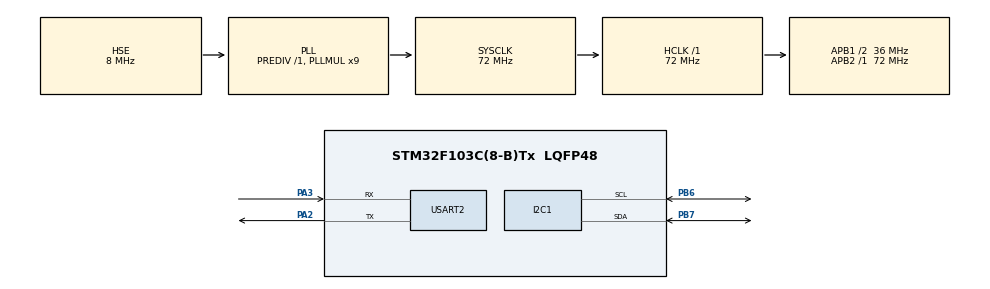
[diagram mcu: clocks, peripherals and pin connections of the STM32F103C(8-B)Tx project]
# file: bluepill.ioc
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Mcu.Family=STM32F1
Mcu.Name=STM32F103C(8-B)Tx
Mcu.Package=LQFP48
NVIC.PriorityGroup=NVIC_PRIORITYGROUP_4
PA13.Mode=Serial_Wire
PA13.Signal=SYS_JTMS-SWDIO
PA14.Mode=Serial_Wire
PA14.Signal=SYS_JTCK-SWCLK
PA2.Mode=Asynchronous
PA2.Signal=USART2_TX
PA3.Mode=Asynchronous
PA3.Signal=USART2_RX
PB6.Mode=I2C
PB6.Signal=I2C1_SCL
PB7.Mode=I2C
PB7.Signal=I2C1_SDA
PD0-OSC_IN.Mode=HSE-External-Oscillator
PD0-OSC_IN.Signal=RCC_OSC_IN
PD1-OSC_OUT.Mode=HSE-External-Oscillator
PD1-OSC_OUT.Signal=RCC_OSC_OUT
ProjectManager.HeapSize=0x200
ProjectManager.StackSize=0x400
ProjectManager.TargetToolchain=STM32CubeIDE
RCC.AHBFreq_Value=72000000
RCC.APB1CLKDivider=RCC_HCLK_DIV2
RCC.APB1Freq_Value=36000000
RCC.APB1TimFreq_Value=72000000
RCC.APB2Freq_Value=72000000
RCC.APB2TimFreq_Value=72000000
RCC.HCLKFreq_Value=72000000
RCC.PLLMUL=RCC_PLL_MUL9
RCC.PLLSourceVirtual=RCC_PLLSOURCE_HSE
RCC.SYSCLKFreq_VALUE=72000000
RCC.SYSCLKSource=RCC_SYSCLKSOURCE_PLLCLK
RCC.USBFreq_Value=72000000
USART2.VirtualMode=VM_ASYNC
board=custom

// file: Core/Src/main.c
/* USER CODE BEGIN Header */
/**
  ******************************************************************************
  * @file           : main.c
  * @brief          : Main program body
  ******************************************************************************
  * @attention
  *
  * Copyright (c) 2024 STMicroelectronics.
  * All rights reserved.
  *
  * This software is licensed under terms that can be found in the LICENSE file
  * in the root directory of this software component.
  * If no LICENSE file comes with this software, it is provided AS-IS.
  *
  ******************************************************************************
  */
/* USER CODE END Header */
#include "main.h"

/* USER CODE BEGIN Includes */

#include "stm32f1xx_hal.h"
#include "stm32f1xx_hal_gpio.h"
#include "stm32f1xx_hal_rcc.h"

/* USER CODE END Includes */

/* USER CODE BEGIN PD */

// Define L9916 I2C address and OTP register addresses
#define L9916_I2C_ADDRESS_WRITE 	0xD8
#define L9916_I2C_ADDRESS_READ  	0xD9
#define OTP_WRITE_VALUE_REGISTER    0x09
#define OTP_WRITE_COMMAND_REGISTER 	0x0A
#define OTP_STATUS_REGISTER     	0x0B
#define OTP_READ_REGISTER       	0x0C
#define REGISTER_1					0x01

/* USER CODE END PD */

I2C_HandleTypeDef hi2c1;

UART_HandleTypeDef huart2;

void SystemClock_Config(void);
static void MX_GPIO_Init(void);
static void MX_USART2_UART_Init(void);
static void MX_I2C1_Init(void);
/* USER CODE BEGIN PFP */

HAL_StatusTypeDef L9916_Write_OTP(uint8_t row, uint8_t column, uint8_t data);
HAL_StatusTypeDef L9916_Read_OTP(uint8_t *data);
void Entering_program_mode(void);
void OTP_programming(void);

/* USER CODE END PFP */

int main(void)
{

  /* MCU Configuration--------------------------------------------------------*/

  /* Reset of all peripherals, Initializes the Flash interface and the Systick. */
  HAL_Init();

  /* Configure the system clock */
  SystemClock_Config();

  /* Initialize all configured peripherals */
  MX_USART2_UART_Init();
  MX_GPIO_Init();
  Entering_program_mode();
  __asm__("BKPT");

  /* Infinite loop */
  while (1)
  {

  }
}

void SystemClock_Config(void)
{
  RCC_OscInitTypeDef RCC_OscInitStruct = {0};
  RCC_ClkInitTypeDef RCC_ClkInitStruct = {0};

  /** Initializes the RCC Oscillators according to the specified parameters
  * in the RCC_OscInitTypeDef structure.
  */
  RCC_OscInitStruct.OscillatorType = RCC_OSCILLATORTYPE_HSE;
  RCC_OscInitStruct.HSEState = RCC_HSE_ON;
  RCC_OscInitStruct.HSEPredivValue = RCC_HSE_PREDIV_DIV1;
  RCC_OscInitStruct.HSIState = RCC_HSI_ON;
  RCC_OscInitStruct.PLL.PLLState = RCC_PLL_ON;
  RCC_OscInitStruct.PLL.PLLSource = RCC_PLLSOURCE_HSE;
  RCC_OscInitStruct.PLL.PLLMUL = RCC_PLL_MUL9;
  if (HAL_RCC_OscConfig(&RCC_OscInitStruct) != HAL_OK)
  {
    Error_Handler();
  }

  /** Initializes the CPU, AHB and APB buses clocks
  */
  RCC_ClkInitStruct.ClockType = RCC_CLOCKTYPE_HCLK|RCC_CLOCKTYPE_SYSCLK
                              |RCC_CLOCKTYPE_PCLK1|RCC_CLOCKTYPE_PCLK2;
  RCC_ClkInitStruct.SYSCLKSource = RCC_SYSCLKSOURCE_PLLCLK;
  RCC_ClkInitStruct.AHBCLKDivider = RCC_SYSCLK_DIV1;
  RCC_ClkInitStruct.APB1CLKDivider = RCC_HCLK_DIV2;
  RCC_ClkInitStruct.APB2CLKDivider = RCC_HCLK_DIV1;

  if (HAL_RCC_ClockConfig(&RCC_ClkInitStruct, FLASH_LATENCY_2) != HAL_OK)
  {
    Error_Handler();
  }
}

static void MX_I2C1_Init(void)
{

  hi2c1.Instance = I2C1;
  hi2c1.Init.ClockSpeed = 100000;
  hi2c1.Init.DutyCycle = I2C_DUTYCYCLE_2;
  hi2c1.Init.OwnAddress1 = 0;
  hi2c1.Init.AddressingMode = I2C_ADDRESSINGMODE_7BIT;
  hi2c1.Init.DualAddressMode = I2C_DUALADDRESS_DISABLE;
  hi2c1.Init.OwnAddress2 = 0;
  hi2c1.Init.GeneralCallMode = I2C_GENERALCALL_DISABLE;
  hi2c1.Init.NoStretchMode = I2C_NOSTRETCH_DISABLE;
  if (HAL_I2C_Init(&hi2c1) != HAL_OK)
  {
    Error_Handler();
  }

}

static void MX_USART2_UART_Init(void)
{

  huart2.Instance = USART2;
  huart2.Init.BaudRate = 115200;
  huart2.Init.WordLength = UART_WORDLENGTH_8B;
  huart2.Init.StopBits = UART_STOPBITS_1;
  huart2.Init.Parity = UART_PARITY_NONE;
  huart2.Init.Mode = UART_MODE_TX_RX;
  huart2.Init.HwFlowCtl = UART_HWCONTROL_NONE;
  huart2.Init.OverSampling = UART_OVERSAMPLING_16;
  if (HAL_UART_Init(&huart2) != HAL_OK)
  {
    Error_Handler();
  }

}

static void MX_GPIO_Init(void)
{
/* USER CODE BEGIN MX_GPIO_Init_1 */
	GPIO_InitTypeDef GPIO_InitStruct = {0};

	/* GPIO Ports Clock Enable */
	__HAL_RCC_GPIOB_CLK_ENABLE();

	/* I2C1 GPIO Configuration
	 PB6  ------> I2C1_SCL
	 PB7  ------> I2C1_SDA
	*/

	/* Configure GPIO pins for PH and IGN */
	GPIO_InitStruct.Pin = GPIO_PIN_6; // PH pin (clock signal)
	GPIO_InitStruct.Mode = GPIO_MODE_OUTPUT_PP;
	GPIO_InitStruct.Pull = GPIO_PULLUP;
	GPIO_InitStruct.Speed = GPIO_SPEED_FREQ_HIGH;
	HAL_GPIO_Init(GPIOB, &GPIO_InitStruct);

	GPIO_InitStruct.Pin = GPIO_PIN_7; // IGN pin (data sequence)
	GPIO_InitStruct.Mode = GPIO_MODE_INPUT;
	GPIO_InitStruct.Pull = GPIO_PULLUP;
	HAL_GPIO_Init(GPIOB, &GPIO_InitStruct);
/* USER CODE END MX_GPIO_Init_1 */

  /* GPIO Ports Clock Enable */
  __HAL_RCC_GPIOD_CLK_ENABLE();
  __HAL_RCC_GPIOA_CLK_ENABLE();
  __HAL_RCC_GPIOB_CLK_ENABLE();

/* USER CODE BEGIN MX_GPIO_Init_2 */
  GPIO_InitStruct.Pin = GPIO_PIN_0;
  GPIO_InitStruct.Mode = GPIO_MODE_OUTPUT_PP;
  GPIO_InitStruct.Pull = GPIO_NOPULL;
  GPIO_InitStruct.Speed = GPIO_SPEED_FREQ_HIGH;
  HAL_GPIO_Init(GPIOA, &GPIO_InitStruct);

/* USER CODE END MX_GPIO_Init_2 */
}

/* USER CODE BEGIN 4 */

HAL_StatusTypeDef L9916_Write_OTP(uint8_t row, uint8_t column, uint8_t data)
{
    uint8_t write_command[2];
    uint8_t status;
    HAL_StatusTypeDef ret;

    // Write data to OTP data register
    write_command[0] = OTP_WRITE_VALUE_REGISTER;
    write_command[1] = data;
    ret = HAL_I2C_Master_Transmit(&hi2c1, L9916_I2C_ADDRESS_WRITE, write_command, 2, HAL_MAX_DELAY);
    if (ret != HAL_OK) return ret;

    // Specify the OTP row and column to write
    write_command[0] = OTP_WRITE_COMMAND_REGISTER;
    write_command[1] = (column << 4) | row;
    for (int i = 0; i < 3; i++) // Perform the write operation three times as required
    {
        ret = HAL_I2C_Master_Transmit(&hi2c1, L9916_I2C_ADDRESS_WRITE, write_command, 2, HAL_MAX_DELAY);
        if (ret != HAL_OK) return ret;

        // Wait until the write operation is completed
        do
        {
            ret = HAL_I2C_Mem_Read(&hi2c1, L9916_I2C_ADDRESS_READ, OTP_STATUS_REGISTER, 1, &status, 1, HAL_MAX_DELAY);
            if (ret != HAL_OK) return ret;
        } while (status & 0x04); // Check D2 bit
    }
    return HAL_OK;
}

HAL_StatusTypeDef L9916_Read_OTP(uint8_t *data)
{
    uint8_t write_command[2];
    HAL_StatusTypeDef ret;

    // Write data to OTP data register
    write_command[0] = REGISTER_1;
    ret = HAL_I2C_Master_Transmit(&hi2c1, L9916_I2C_ADDRESS_WRITE, write_command, 1, HAL_MAX_DELAY);
    if (ret != HAL_OK) return ret;

    ret = HAL_I2C_Master_Receive(&hi2c1, L9916_I2C_ADDRESS_READ, data, 1, HAL_MAX_DELAY);
    // Specify the OTP row and column to write

    return HAL_OK;
}

void Error_Handler(void)
{
  while(1)
  {
    // Stay in this loop in case of error
  }
}

void Entering_program_mode(void)
{
    // Assuming IGN pin is connected to GPIO_PIN_0 on GPIOA
    // Assuming PH pin is connected to GPIO_PIN_1 on GPIOB
    // Assuming DFM pin is connected to GPIO_PIN_2 on GPIOB

    // Set all input terminals to 0V
    HAL_GPIO_WritePin(GPIOA, GPIO_PIN_0, GPIO_PIN_RESET); // IGN
    HAL_GPIO_WritePin(GPIOB, GPIO_PIN_6, GPIO_PIN_RESET); // PH
    //HAL_Delay(1);  // Ensure all inputs are at 0V

    for (int i = 0; i < 16; i++)
    {
        if ((0xAFF3 >> (15 - i)) & 0x1)
        {
            HAL_GPIO_WritePin(GPIOA, GPIO_PIN_0, GPIO_PIN_SET); // Set IGN pin
        }
        else
        {
            HAL_GPIO_WritePin(GPIOA, GPIO_PIN_0, GPIO_PIN_RESET); // Reset IGN pin
        }
        //HAL_Delay(1);
        HAL_GPIO_WritePin(GPIOB, GPIO_PIN_6, GPIO_PIN_RESET); // PH
        HAL_Delay(1);
        HAL_GPIO_WritePin(GPIOB, GPIO_PIN_6, GPIO_PIN_SET); // PH
        HAL_Delay(1);
    }
    HAL_GPIO_WritePin(GPIOB, GPIO_PIN_6, GPIO_PIN_SET); // PH
    /*GPIO_InitTypeDef GPIO_InitStruct = {0};

	GPIO_InitStruct.Pin = GPIO_PIN_6; // PH pin (clock signal)
	GPIO_InitStruct.Mode = GPIO_MODE_INPUT;
	GPIO_InitStruct.Pull = GPIO_NOPULL;
	HAL_GPIO_Init(GPIOB, &GPIO_InitStruct);*/

    MX_I2C1_Init();

    // Apply I2C protocol to confirm Device Program Mode within 500 ms
    uint8_t confirm_command [2];
    confirm_command[0] = REGISTER_1;
    confirm_command[1] = 0xA0;
    if (HAL_I2C_Master_Transmit(&hi2c1, L9916_I2C_ADDRESS_WRITE, confirm_command, 2, HAL_MAX_DELAY) != HAL_OK)
    {
        Error_Handler();
    }
}

void OTP_Write(uint8_t value, uint8_t command)
{
    uint8_t data[2];

    // Zápis hodnoty do OTP_WRITE_VALUE_REGISTER
    data[0] = OTP_WRITE_VALUE_REGISTER;
    data[1] = value;
    if (HAL_I2C_Master_Transmit(&hi2c1, L9916_I2C_ADDRESS_WRITE, data, 2, HAL_MAX_DELAY) != HAL_OK)
    {
        Error_Handler();
    }

    // Zápis příkazu do OTP_WRITE_COMMAND_REGISTER
    data[0] = OTP_WRITE_COMMAND_REGISTER;
    data[1] = command;
    if (HAL_I2C_Master_Transmit(&hi2c1, L9916_I2C_ADDRESS_WRITE, data, 2, HAL_MAX_DELAY) != HAL_OK)
    {
        Error_Handler();
    }
}

void OTP_WaitForCompletion(void)
{
    uint8_t buffer;
    uint8_t statusCommand = OTP_STATUS_REGISTER;

    HAL_I2C_Master_Transmit(&hi2c1, L9916_I2C_ADDRESS_WRITE, &statusCommand, 1, HAL_MAX_DELAY);

    do {
        HAL_I2C_Master_Receive(&hi2c1, L9916_I2C_ADDRESS_READ, &buffer, 1, HAL_MAX_DELAY);
    } while (!(buffer & 0x02));
}

void OTP_programming(void)
{
    OTP_Write(0xA0, 0x20); // OTP Row 0
    OTP_WaitForCompletion();

    OTP_Write(0x40, 0x21); // OTP Row 1
    OTP_WaitForCompletion();

    OTP_Write(0xC0, 0x22); // OTP Row 2
    OTP_WaitForCompletion();

    OTP_Write(0x18, 0x23); // OTP Row 3
    OTP_WaitForCompletion();
}

/* USER CODE END 4 */
